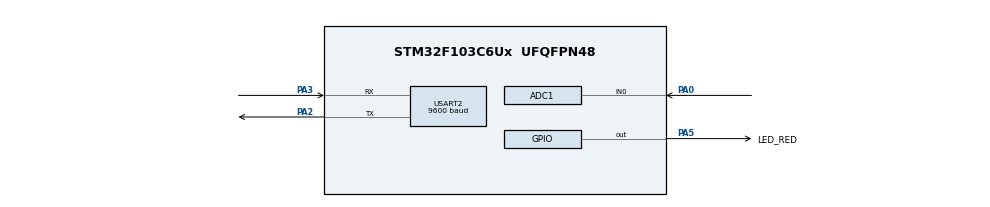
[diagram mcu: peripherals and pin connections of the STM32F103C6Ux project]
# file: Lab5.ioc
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ADC1.Channel-0\#ChannelRegularConversion=ADC_CHANNEL_0
ADC1.NbrOfConversionFlag=1
ADC1.Rank-0\#ChannelRegularConversion=1
ADC1.SamplingTime-0\#ChannelRegularConversion=ADC_SAMPLETIME_1CYCLE_5
ADC1.master=1
Mcu.Family=STM32F1
Mcu.Name=STM32F103C6Ux
Mcu.Package=UFQFPN48
NVIC.PriorityGroup=NVIC_PRIORITYGROUP_4
NVIC.TIM2_IRQn=true\:0\:0\:false\:false\:true\:true\:true
NVIC.USART2_IRQn=true\:0\:0\:false\:false\:true\:true\:true
PA0-WKUP.Signal=ADCx_IN0
PA2.Mode=Asynchronous
PA2.Signal=USART2_TX
PA3.Mode=Asynchronous
PA3.Signal=USART2_RX
PA5.GPIO_Label=LED_RED
PA5.Signal=GPIO_Output
ProjectManager.HeapSize=0x200
ProjectManager.StackSize=0x400
ProjectManager.TargetToolchain=STM32CubeIDE
RCC.APB1Freq_Value=8000000
RCC.APB2Freq_Value=8000000
SH.ADCx_IN0.0=ADC1_IN0,IN0
TIM2.Period=9
TIM2.Prescaler=7999
USART2.BaudRate=9600
USART2.VirtualMode=VM_ASYNC
VP_SYS_VS_ND.Mode=No_Debug
VP_TIM2_VS_ClockSourceINT.Mode=Internal
board=custom

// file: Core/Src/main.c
/* USER CODE BEGIN Header */
/**
  ******************************************************************************
  * @file           : main.c
  * @brief          : Main program body
  ******************************************************************************
  * @attention
  *
  * <h2><center>&copy; Copyright (c) 2026 STMicroelectronics.
  * All rights reserved.</center></h2>
  *
  * This software component is licensed by ST under BSD 3-Clause license,
  * the "License"; You may not use this file except in compliance with the
  * License. You may obtain a copy of the License at:
  *                        opensource.org/licenses/BSD-3-Clause
  *
  ******************************************************************************
  */
/* USER CODE END Header */
#include "main.h"

/* USER CODE BEGIN Includes */
#include "command_parser.h"
#include "uart_communication.h"
#include "software_timer.h"
/* USER CODE END Includes */

ADC_HandleTypeDef hadc1;

TIM_HandleTypeDef htim2;

UART_HandleTypeDef huart2;

void SystemClock_Config(void);
static void MX_GPIO_Init(void);
static void MX_ADC1_Init(void);
static void MX_TIM2_Init(void);
static void MX_USART2_UART_Init(void);

int main(void)
{

  /* MCU Configuration--------------------------------------------------------*/

  /* Reset of all peripherals, Initializes the Flash interface and the Systick. */
  HAL_Init();

  /* Configure the system clock */
  SystemClock_Config();

  /* Initialize all configured peripherals */
  MX_GPIO_Init();
  MX_ADC1_Init();
  MX_TIM2_Init();
  MX_USART2_UART_Init();
  /* USER CODE BEGIN 2 */
  HAL_UART_Receive_IT(&huart2, &temp, 1);   // start receiving the first byte
  HAL_TIM_Base_Start_IT(&htim2);            // 10 ms tick for software timers
  setTimer(TIMER_LED, 500);
  /* USER CODE END 2 */

  /* Infinite loop */
  /* USER CODE BEGIN WHILE */
  while (1)
  {
    if (buffer_flag == 1) {
      buffer_flag = 0;                      // clear first, then parse
      command_parser_fsm();
    }
    uart_communication_fsm();

    if (isTimerExpired(TIMER_LED)) {        // LED blinky, no HAL_Delay
      HAL_GPIO_TogglePin(LED_RED_GPIO_Port, LED_RED_Pin);
      setTimer(TIMER_LED, 500);
    }
    /* USER CODE END WHILE */

  }
}

void SystemClock_Config(void)
{
  RCC_OscInitTypeDef RCC_OscInitStruct = {0};
  RCC_ClkInitTypeDef RCC_ClkInitStruct = {0};
  RCC_PeriphCLKInitTypeDef PeriphClkInit = {0};

  /** Initializes the RCC Oscillators according to the specified parameters
  * in the RCC_OscInitTypeDef structure.
  */
  RCC_OscInitStruct.OscillatorType = RCC_OSCILLATORTYPE_HSI;
  RCC_OscInitStruct.HSIState = RCC_HSI_ON;
  RCC_OscInitStruct.HSICalibrationValue = RCC_HSICALIBRATION_DEFAULT;
  RCC_OscInitStruct.PLL.PLLState = RCC_PLL_NONE;
  if (HAL_RCC_OscConfig(&RCC_OscInitStruct) != HAL_OK)
  {
    Error_Handler();
  }
  /** Initializes the CPU, AHB and APB buses clocks
  */
  RCC_ClkInitStruct.ClockType = RCC_CLOCKTYPE_HCLK|RCC_CLOCKTYPE_SYSCLK
                              |RCC_CLOCKTYPE_PCLK1|RCC_CLOCKTYPE_PCLK2;
  RCC_ClkInitStruct.SYSCLKSource = RCC_SYSCLKSOURCE_HSI;
  RCC_ClkInitStruct.AHBCLKDivider = RCC_SYSCLK_DIV1;
  RCC_ClkInitStruct.APB1CLKDivider = RCC_HCLK_DIV1;
  RCC_ClkInitStruct.APB2CLKDivider = RCC_HCLK_DIV1;

  if (HAL_RCC_ClockConfig(&RCC_ClkInitStruct, FLASH_LATENCY_0) != HAL_OK)
  {
    Error_Handler();
  }
  PeriphClkInit.PeriphClockSelection = RCC_PERIPHCLK_ADC;
  PeriphClkInit.AdcClockSelection = RCC_ADCPCLK2_DIV2;
  if (HAL_RCCEx_PeriphCLKConfig(&PeriphClkInit) != HAL_OK)
  {
    Error_Handler();
  }
}

static void MX_ADC1_Init(void)
{

  ADC_ChannelConfTypeDef sConfig = {0};

  /** Common config
  */
  hadc1.Instance = ADC1;
  hadc1.Init.ScanConvMode = ADC_SCAN_DISABLE;
  hadc1.Init.ContinuousConvMode = DISABLE;
  hadc1.Init.DiscontinuousConvMode = DISABLE;
  hadc1.Init.ExternalTrigConv = ADC_SOFTWARE_START;
  hadc1.Init.DataAlign = ADC_DATAALIGN_RIGHT;
  hadc1.Init.NbrOfConversion = 1;
  if (HAL_ADC_Init(&hadc1) != HAL_OK)
  {
    Error_Handler();
  }
  /** Configure Regular Channel
  */
  sConfig.Channel = ADC_CHANNEL_0;
  sConfig.Rank = ADC_REGULAR_RANK_1;
  sConfig.SamplingTime = ADC_SAMPLETIME_1CYCLE_5;
  if (HAL_ADC_ConfigChannel(&hadc1, &sConfig) != HAL_OK)
  {
    Error_Handler();
  }

}

static void MX_TIM2_Init(void)
{

  TIM_ClockConfigTypeDef sClockSourceConfig = {0};
  TIM_MasterConfigTypeDef sMasterConfig = {0};

  htim2.Instance = TIM2;
  htim2.Init.Prescaler = 7999;
  htim2.Init.CounterMode = TIM_COUNTERMODE_UP;
  htim2.Init.Period = 9;
  htim2.Init.ClockDivision = TIM_CLOCKDIVISION_DIV1;
  htim2.Init.AutoReloadPreload = TIM_AUTORELOAD_PRELOAD_DISABLE;
  if (HAL_TIM_Base_Init(&htim2) != HAL_OK)
  {
    Error_Handler();
  }
  sClockSourceConfig.ClockSource = TIM_CLOCKSOURCE_INTERNAL;
  if (HAL_TIM_ConfigClockSource(&htim2, &sClockSourceConfig) != HAL_OK)
  {
    Error_Handler();
  }
  sMasterConfig.MasterOutputTrigger = TIM_TRGO_RESET;
  sMasterConfig.MasterSlaveMode = TIM_MASTERSLAVEMODE_DISABLE;
  if (HAL_TIMEx_MasterConfigSynchronization(&htim2, &sMasterConfig) != HAL_OK)
  {
    Error_Handler();
  }

}

static void MX_USART2_UART_Init(void)
{

  huart2.Instance = USART2;
  huart2.Init.BaudRate = 9600;
  huart2.Init.WordLength = UART_WORDLENGTH_8B;
  huart2.Init.StopBits = UART_STOPBITS_1;
  huart2.Init.Parity = UART_PARITY_NONE;
  huart2.Init.Mode = UART_MODE_TX_RX;
  huart2.Init.HwFlowCtl = UART_HWCONTROL_NONE;
  huart2.Init.OverSampling = UART_OVERSAMPLING_16;
  if (HAL_UART_Init(&huart2) != HAL_OK)
  {
    Error_Handler();
  }

}

static void MX_GPIO_Init(void)
{
  GPIO_InitTypeDef GPIO_InitStruct = {0};

  /* GPIO Ports Clock Enable */
  __HAL_RCC_GPIOA_CLK_ENABLE();

  /*Configure GPIO pin Output Level */
  HAL_GPIO_WritePin(LED_RED_GPIO_Port, LED_RED_Pin, GPIO_PIN_RESET);

  /*Configure GPIO pin : LED_RED_Pin */
  GPIO_InitStruct.Pin = LED_RED_Pin;
  GPIO_InitStruct.Mode = GPIO_MODE_OUTPUT_PP;
  GPIO_InitStruct.Pull = GPIO_NOPULL;
  GPIO_InitStruct.Speed = GPIO_SPEED_FREQ_LOW;
  HAL_GPIO_Init(LED_RED_GPIO_Port, &GPIO_InitStruct);

}

/* USER CODE BEGIN 4 */
void HAL_UART_RxCpltCallback(UART_HandleTypeDef *huart) {
  if (huart->Instance == USART2) {
    buffer[index_buffer++] = temp;
    if (index_buffer == MAX_BUFFER_SIZE) index_buffer = 0;
    buffer_flag = 1;
    HAL_UART_Receive_IT(&huart2, &temp, 1); // re-arm for the next byte
  }
}

void HAL_UART_ErrorCallback(UART_HandleTypeDef *huart) {
  if (huart->Instance == USART2) {
    HAL_UART_Receive_IT(&huart2, &temp, 1); // restart after overrun/noise error
  }
}

void HAL_TIM_PeriodElapsedCallback(TIM_HandleTypeDef *htim) {
  if (htim->Instance == TIM2) {
    timerRun();
  }
}
/* USER CODE END 4 */

void Error_Handler(void)
{
  __disable_irq();
  while (1)
  {
  }
}

/************************ (C) COPYRIGHT STMicroelectronics *****END OF FILE****/
